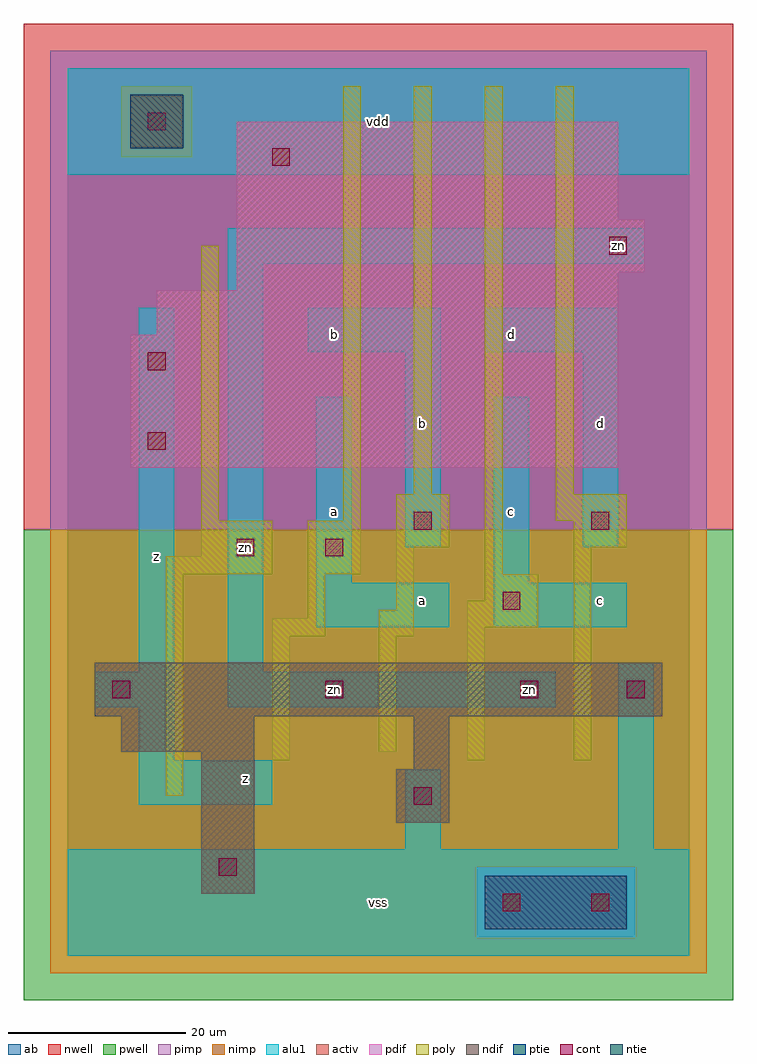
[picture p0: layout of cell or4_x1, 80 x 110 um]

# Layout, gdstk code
import gdstk
lib = gdstk.Library(unit=1e-6, precision=1e-09)
def R(c, l, rs):  # rectangles x0, y0, x1, y1
    for r in rs: c.add(gdstk.rectangle(r[:2], r[2:], *l))
ndif = (3, 0)
pdif = (4, 0)
ntie = (5, 0)
ptie = (6, 0)
cont = (25, 0)
pwell = (41, 0)
nwell = (42, 0)
activ = (43, 0)
pimp = (44, 0)
nimp = (45, 0)
poly = (46, 0)
alu1 = (49, 0)
ab = (63, 0)

or4_x1 = lib.new_cell('or4_x1')
R(or4_x1, ndif, [(15,7,21,23), (37,15,43,21), (39,21,43,27), (6,23,21,27), (3,27,67,33)])
R(or4_x1, pdif, [(7,55,62,70), (10,70,62,75), (19,75,62,77), (19,77,65,83), (19,83,62,94)])
R(or4_x1, ntie, [(7,91,13,97)])
R(or4_x1, ptie, [(47,3,63,9)])
R(or4_x1, cont, [(49,5,51,7), (59,5,61,7), (17,9,19,11), (39,17,41,19), (5,29,7,31), (29,29,31,31), (51,29,53,31), (63,29,65,31), (49,39,51,41), (19,45,21,47), (29,45,31,47), (39,48,41,50), (59,48,61,50), (9,57,11,59), (9,66,11,68), (61,79,63,81), (23,89,25,91), (9,93,11,95)])
R(or4_x1, pwell, [(-5,-5,75,48)])
R(or4_x1, nwell, [(-5,48,75,105)])
R(or4_x1, activ, [(47,3,63,9), (15,7,21,23), (37,15,43,21), (39,21,43,27), (6,23,21,27), (3,27,67,33), (7,55,62,70), (10,70,62,75), (19,75,62,77), (19,77,65,83), (19,83,62,94), (7,91,13,97)])
R(or4_x1, pimp, [(46,2,64,10), (-2,48,72,90), (-2,90,6,98), (14,90,72,98), (-2,98,72,102)])
R(or4_x1, nimp, [(-2,-2,72,2), (-2,2,46,10), (64,2,72,10), (-2,10,72,48), (6,90,14,98)])
R(or4_x1, poly, [(11,18,13,43), (23,22,25,36), (45,22,47,37), (57,22,59,46), (35,23,37,36), (23,36,29,38), (35,36,39,39), (45,37,53,40), (27,38,29,43), (37,39,39,46), (47,40,53,43), (11,43,23,45), (27,43,33,49), (47,43,49,98), (15,45,23,49), (37,46,43,52), (57,46,63,49), (15,49,17,80), (31,49,33,98), (55,49,63,52), (39,52,41,98), (55,52,57,98)])
R(or4_x1, alu1, [(0,0,70,12), (38,12,42,21), (62,12,66,33), (8,17,23,22), (8,22,12,28), (3,28,12,32), (18,28,55,32), (8,32,12,73), (18,32,22,78), (28,37,43,42), (48,37,63,42), (28,42,32,63), (48,42,52,63), (38,46,42,68), (58,46,62,68), (27,68,42,73), (47,68,62,73), (18,78,65,82), (0,88,70,100)])
R(or4_x1, ab, [(0,0,70,100)])
or4_x1.add(gdstk.Label('zn', (20,46), layer=49, texttype=0))
or4_x1.add(gdstk.Label('zn', (30,30), layer=49, texttype=0))
or4_x1.add(gdstk.Label('zn', (52,30), layer=49, texttype=0))
or4_x1.add(gdstk.Label('zn', (62,80), layer=49, texttype=0))
or4_x1.add(gdstk.Label('z', (10,45), layer=49, texttype=0))
or4_x1.add(gdstk.Label('z', (20,20), layer=49, texttype=0))
or4_x1.add(gdstk.Label('a', (30,50), layer=49, texttype=0))
or4_x1.add(gdstk.Label('b', (30,70), layer=49, texttype=0))
or4_x1.add(gdstk.Label('vss', (35,6), layer=49, texttype=0))
or4_x1.add(gdstk.Label('a', (40,40), layer=49, texttype=0))
or4_x1.add(gdstk.Label('c', (50,50), layer=49, texttype=0))
or4_x1.add(gdstk.Label('d', (50,70), layer=49, texttype=0))
or4_x1.add(gdstk.Label('b', (40,60), layer=49, texttype=0))
or4_x1.add(gdstk.Label('vdd', (35,94), layer=49, texttype=0))
or4_x1.add(gdstk.Label('c', (60,40), layer=49, texttype=0))
or4_x1.add(gdstk.Label('d', (60,60), layer=49, texttype=0))

lib.write_gds('or4_x1.gds')
